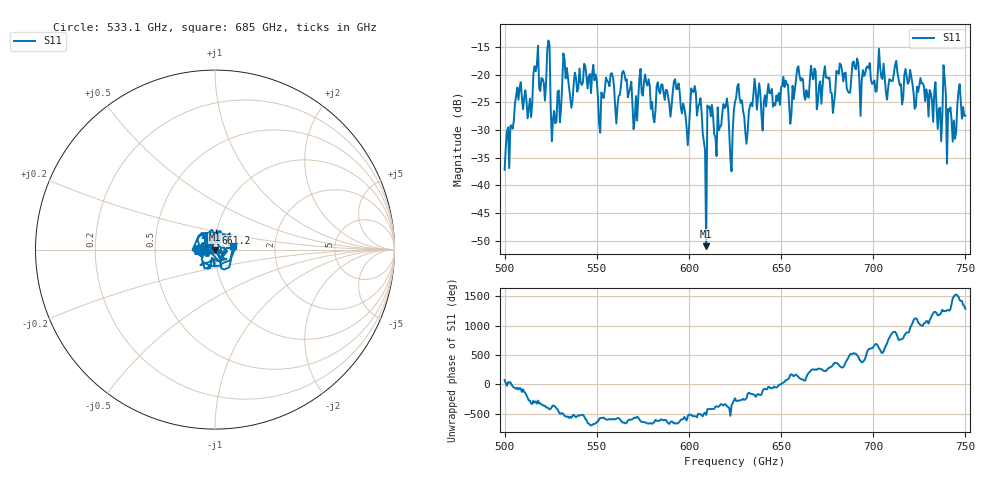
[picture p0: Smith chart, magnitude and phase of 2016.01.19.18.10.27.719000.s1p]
!Created with skrf (http://scikit-rf.org).
# GHz S RI R 50.0
!freq ReS11 ImS11
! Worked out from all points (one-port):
!   401 points, 500 GHz to 750 GHz, reference 50 ohm
!   lowest |S11| = -51.0 dB at 609.4 GHz (marker M1), VSWR 1.01, Z = 49.7 - j0.111 ohm
!   |S11| at or under -10 dB: start of sweep to end of sweep
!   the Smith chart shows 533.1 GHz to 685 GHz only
!   S11 on the Smith chart (normalised r, x): 533.1 GHz: 0.83, +0.01; 661.2 GHz: 0.99, +0.19; 685 GHz: 1.23, +0.05
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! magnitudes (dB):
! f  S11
! 500 GHz  -37.2
! 507.5 GHz  -24.6
! 513.8 GHz  -24.3
! 516.9 GHz  -19.4
! 523.8 GHz  -13.8
! 526.9 GHz  -26.6
! 531.2 GHz  -21.7
! 533.1 GHz  -20.7
! 536.2 GHz  -26.0
! 562.5 GHz  -23.7
! 570.6 GHz  -27.9
! 575 GHz  -23.8
! 593.8 GHz  -22.6
! 598.8 GHz  -29.5
! 602.5 GHz  -23.2
! 609.4 GHz  -51.0
! 611.2 GHz  -25.8
! 615 GHz  -34.7
! 620 GHz  -25.8
! 623.1 GHz  -37.5
! 625 GHz  -24.9
! 656.2 GHz  -22.0
! 661.2 GHz  -20.6
! 685 GHz  -19.6
! 687.5 GHz  -23.2
! 718.8 GHz  -21.7
! 743.8 GHz  -28.3
! 750 GHz  -27.4
